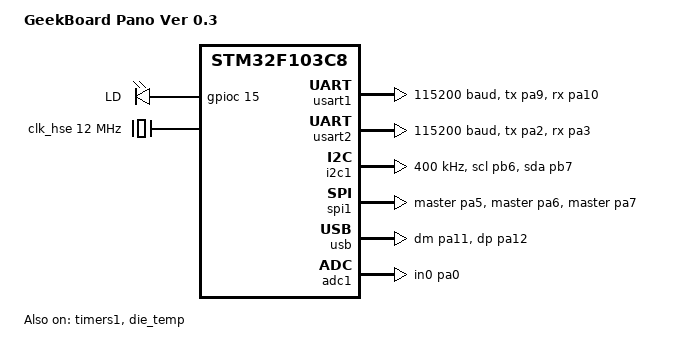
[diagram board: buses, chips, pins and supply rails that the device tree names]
/dts-v1/;
#include <st/f1/stm32f103X8.dtsi>
#include <st/f1/stm32f103c(8-b)tx-pinctrl.dtsi>

/ {
	model = "GeekBoard Pano Ver 0.3";
	compatible = "st,stm32f103c8";

	chosen {
		zephyr,console = &usart1;
		zephyr,shell-uart = &usart1;
		zephyr,osdp-uart = &usart1;
		zephyr,sram = &sram0;
		zephyr,flash = &flash0;
	};

	leds: leds {
		compatible = "gpio-leds";
		led: led {
			gpios = <&gpioc 15 GPIO_ACTIVE_HIGH>;
			label = "LD";
		};
	};

	soc {
		swd {
			pinctrl-0 = <&sys_jtms_swdio_pa13 &sys_jtck_swclk_pa14>;
			pinctrl-names = "default";
			status = "okay";
		};
	};

	aliases {
		led0 = &led;
	};
};

&clk_hse {
	clock-frequency = <DT_FREQ_M(12)>;
	status = "okay";
};

&pll {
	mul = <6>;
	clocks = <&clk_hse>;
	status = "okay";
	// usbpre;
};

&rcc {
	clocks = <&pll>;
	clock-frequency = <DT_FREQ_M(72)>;
	ahb-prescaler = <1>;
	apb1-prescaler = <2>;
	apb2-prescaler = <1>;
	adc-prescaler = <6>;
	/* usbpre not set: USB clock = 72 / 1.5: 48MHz */
};

&usart1 {
	pinctrl-0 = <&usart1_tx_pa9 &usart1_rx_pa10>;
	current-speed = <115200>;
	pinctrl-names = "default";
	status = "okay";
};

&usart2 {
	pinctrl-0 = <&usart2_tx_pa2 &usart2_rx_pa3>;
	current-speed = <115200>;
	pinctrl-names = "default";
	status = "okay";
};

&i2c1 {
	pinctrl-0 = < &i2c1_scl_pb6 &i2c1_sda_pb7 >;
	status = "okay";
	pinctrl-names = "default";
	clock-frequency = <I2C_BITRATE_FAST>;
};

&spi1 {
	pinctrl-0 = <&spi1_sck_master_pa5 &spi1_miso_master_pa6 &spi1_mosi_master_pa7>;
	pinctrl-names = "default";
	status = "okay";
};

&timers1 {
	status = "okay";
};

zephyr_udc0: &usb {
	pinctrl-0 = <&usb_dm_pa11 &usb_dp_pa12>;
	pinctrl-names = "default";
	status = "okay";
};

&adc1 {
	pinctrl-0 = <&adc1_in0_pa0>;
	pinctrl-names = "default";
	status = "okay";
};

&die_temp {
	status = "okay";
};

&pinctrl {
	swj-cfg = "jtag-disable";
};
